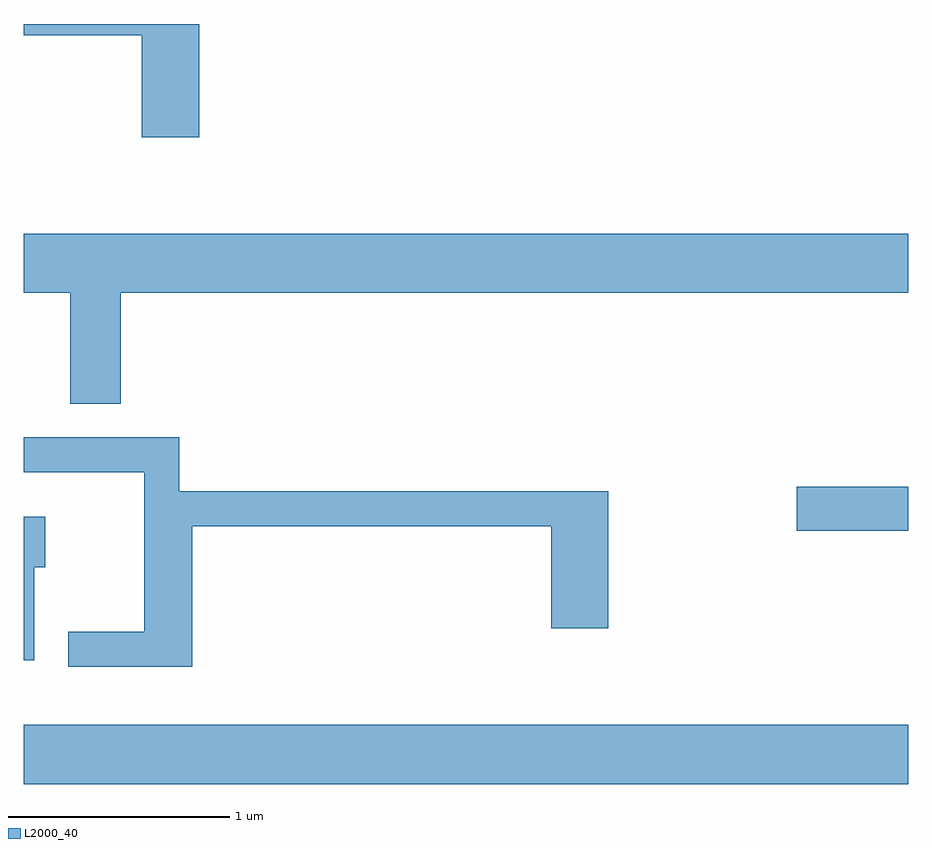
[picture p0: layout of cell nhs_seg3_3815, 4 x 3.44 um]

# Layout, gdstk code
import gdstk
lib = gdstk.Library(unit=1e-6, precision=1e-09)
def R(c, l, rs):  # rectangles x0, y0, x1, y1
    for r in rs: c.add(gdstk.rectangle(r[:2], r[2:], *l))
def P(c, l, *ps):  # polygons
    for p in ps: c.add(gdstk.Polygon(p, *l))
L2000_40 = (2000, 40)

nhs_seg3_3815 = lib.new_cell('nhs_seg3_3815')
R(nhs_seg3_3815, L2000_40, [(297.611,1130.456,301.611,1130.724), (301.106,1131.601,301.611,1131.799)])
P(nhs_seg3_3815, L2000_40, [(298.404,1133.892),(297.611,1133.892),(297.611,1133.841),(298.146,1133.841),(298.146,1133.381),(298.404,1133.381)],
  [(298.049,1132.676),(301.611,1132.676),(301.611,1132.944),(297.611,1132.944),(297.611,1132.676),(297.821,1132.676),(297.821,1132.176),(298.049,1132.176)],
  [(298.374,1131.621),(299.996,1131.621),(299.996,1131.161),(300.254,1131.161),(300.254,1131.779),(298.314,1131.779),(298.314,1132.024),(297.611,1132.024),(297.611,1131.866),(298.156,1131.866),(298.156,1131.144),(297.813,1131.144),(297.813,1130.986),(298.374,1130.986)],
  [(297.659,1131.436),(297.709,1131.436),(297.709,1131.664),(297.611,1131.664),(297.611,1131.016),(297.659,1131.016)])

lib.write_gds('nhs_seg3_3815.gds')
